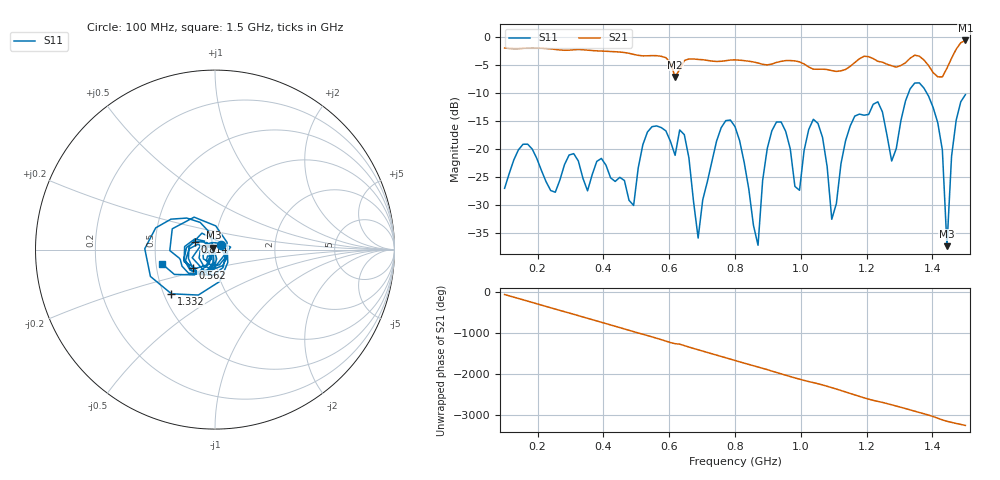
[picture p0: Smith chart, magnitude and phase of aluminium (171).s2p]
! NanoVNA-App
! Date: 2025-09-25 14:56:36
! Start: 100MHz Stop: 1,5GHz Points: 101
! S-Parameter data: F S11 S21 S12 S22
# Hz S RI R 50
!  Frequency  S11_Real  S11_Imag  S21_Real  S21_Imag  S12_Real  S12_Imag  S22_Real  S22_Imag
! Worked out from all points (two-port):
!   101 points, 100 MHz to 1.5 GHz, reference 50 ohm
!   highest |S21| = -0.57 dB at 1.5 GHz (marker M1); lowest = -7.1 dB at 618 MHz (marker M2)
!   |S21| within 3 dB of the highest: start of sweep to 585.6 MHz; 1.46 GHz to end of sweep (the widest 2 of 4)
!   lowest |S11| = -37.3 dB at 1.444 GHz (marker M3), VSWR 1.03, Z = 49.1 + j1 ohm
!   |S11| at or under -10 dB: start of sweep to 1.327 GHz; 1.383 GHz to end of sweep
!   S12 and S22 are empty: the file has one direction only
!   S11 on the Smith chart (normalised r, x): 100 MHz: 1.07, +0.06; 562 MHz: 0.76, -0.16; 814 MHz: 0.80, +0.07; 1.332 GHz: 0.55, -0.31; 1.5 GHz: 0.54, -0.09
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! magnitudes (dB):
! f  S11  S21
! 100 MHz  -27.0  -1.9
! 338 MHz  -25.2  -2.2
! 492 MHz  -30.1  -3.1
! 562 MHz  -15.8  -3.3
! 576 MHz  -16.1  -3.4
! 618 MHz  -21.1  -7.1
! 646 MHz  -17.4  -4.2
! 688 MHz  -35.9  -4.0
! 800 MHz  -16.0  -4.0
! 814 MHz  -18.5  -4.1
! 870 MHz  -37.2  -4.6
! 912 MHz  -16.7  -4.8
! 996 MHz  -27.3  -4.4
! 1.038 GHz  -14.7  -5.7
! 1.094 GHz  -32.5  -6.0
! 1.164 GHz  -14.1  -4.5
! 1.276 GHz  -22.1  -5.1
! 1.332 GHz  -9.2  -3.8
! 1.416 GHz  -15.3  -7.1
! 1.444 GHz  -37.3  -5.5
! 1.458 GHz  -21.3  -3.8
! 1.5 GHz  -10.3  -0.6
